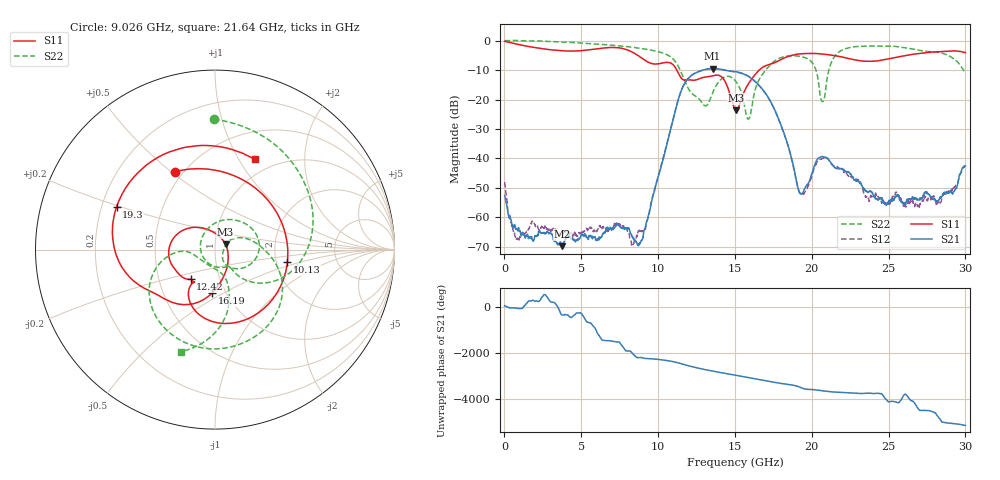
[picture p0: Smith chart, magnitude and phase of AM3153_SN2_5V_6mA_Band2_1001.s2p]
!Agilent Technologies,E8364B,MY43040894,A.07.50.67
!Agilent E8364B: A.07.50.67
!Date: Tuesday, May 12, 2020 09:51:50
!Correction: S11(Full 2 Port(1,2))
!S21(Full 2 Port(1,2))
!S12(Full 2 Port(1,2))
!S22(Full 2 Port(1,2))
!S2P File: Measurements: S11, S21, S12, S22:
# Hz S  dB  R 50
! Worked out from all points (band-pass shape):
!   1601 points, 10 MHz to 30 GHz, reference 50 ohm
!   highest |S21| = -9.51 dB at 13.54 GHz (marker M1); lowest = -69.8 dB at 3.759 GHz (marker M2)
!   |S21| within 3 dB of the highest: 12.02 GHz to 15.99 GHz (3.968 GHz wide, 28.3 % of centre)
!   lowest |S11| = -23.6 dB at 15.08 GHz (marker M3), VSWR 1.14, Z = 56.2 + j3.29 ohm
!   |S11| at or under -10 dB: 11.22 GHz to 16.58 GHz (5.361 GHz wide, 38.6 % of centre)
!   |S22| runs from -26.7 to 0.1 dB; largest |S21 - S12| = 0.0077
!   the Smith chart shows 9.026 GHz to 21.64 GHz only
!   S11 on the Smith chart (normalised r, x): 9.026 GHz: 0.45, +0.52; 10.13 GHz: 2.31, -0.38; 12.42 GHz: 0.72, -0.25; 16.19 GHz: 0.87, -0.44; 19.3 GHz: 0.26, +0.19; 21.64 GHz: 0.81, +1.17
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1e7  -0.26 -6.5  -52.54 69.8  -48.02 21.4  0.01 -2.0
8.159812e8  -1.20 -67.2  -64.15 -42.3  -67.53 -60.2  0.03 -24.0
2.071812e9  -2.43 -150.2  -66.56 -80.3  -62.84 -56.0  -0.09 -61.2
3.75875e9  -3.45 116.1  -69.79 25.8  -65.67 155.4  -0.47 -109.8
5.014581e9  -3.41 45.6  -65.57 79.3  -65.26 121.4  -0.81 -145.4
7.132625e9  -2.33 -87.6  -63.78 -56.2  -62.89 -53.8  -1.63 153.5
8.126044e9  -3.41 -161.3  -64.10 -110.0  -65.67 -108.6  -2.11 122.0
9.025744e9  -6.24 116.9  -66.87 -59.0  -64.77 -84.2  -2.78 90.4
1.001916e10  -7.87 3.1  -46.02 -123.0  -45.78 -121.1  -3.77 48.2
1.013162e10  -7.76 -9.7  -43.94 -130.5  -43.56 -129.4  -3.94 42.7
1.241836e10  -13.40 -129.6  -11.03 -113.9  -10.98 -114.6  -18.77 -56.6
1.354299e10  -11.95 -157.7  -9.51 87.1  -9.43 86.6  -17.82 104.4
1.5005e10  -23.36 46.4  -10.51 -88.5  -10.57 -89.4  -13.50 -23.5
1.507998e10  -23.64 26.3  -10.56 -97.5  -10.63 -98.4  -14.00 -28.3
1.618586e10  -12.37 -93.5  -13.29 123.9  -13.25 123.0  -19.79 31.9
1.929732e10  -4.47 156.6  -52.13 84.7  -52.21 82.3  -5.41 -113.6
2.000958e10  -4.35 130.7  -45.09 1.2  -45.96 2.8  -7.33 -148.5
2.07031e10  -4.56 104.6  -39.37 -55.6  -39.93 -59.8  -20.72 -124.1
2.164029e10  -5.21 66.2  -43.48 -111.7  -42.94 -110.7  -4.47 -108.2
2.501416e10  -6.19 -115.4  -54.28 178.4  -55.49 -141.8  -1.87 134.9
2.692602e10  -4.40 162.3  -53.95 -113.1  -56.28 -170.0  -3.20 86.7
3e10  -4.07 79.2  -42.50 -134.0  -42.82 -140.7  -10.70 -9.4
